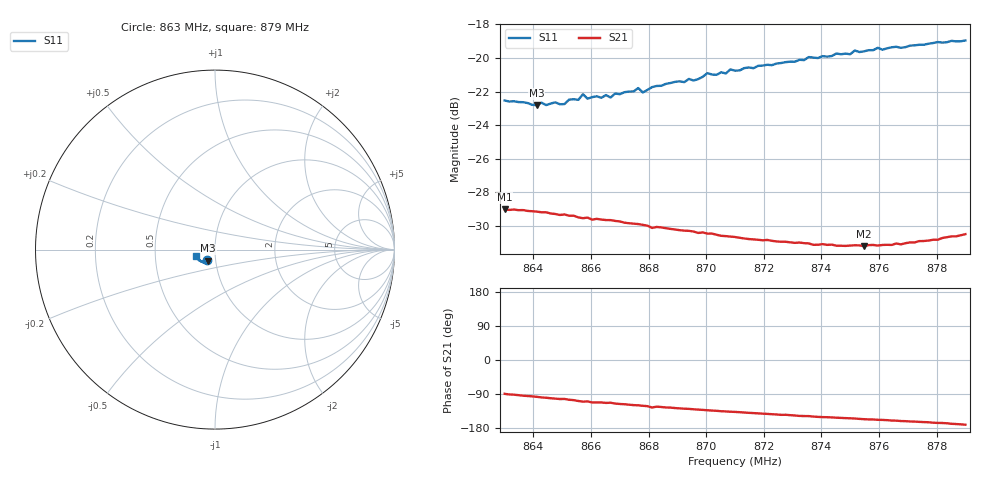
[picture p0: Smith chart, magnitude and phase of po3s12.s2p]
# HZ S RI R 50
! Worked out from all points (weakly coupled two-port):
!   101 points, 863 MHz to 879 MHz, reference 50 ohm
!   highest |S21| = -29.03 dB at 863 MHz (marker M1); lowest = -31.2 dB at 875.48 MHz (marker M2)
!   lowest |S11| = -22.8 dB at 864.12 MHz (marker M3), VSWR 1.16, Z = 45.9 - j5.65 ohm
!   |S11| at or under -10 dB: start of sweep to end of sweep
!   S12 and S22 are empty: the file has one direction only
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8.63e8  -0.0436 -0.0606  0.000489 -0.0354  0 0  0 0
8.6412e8  -0.0387 -0.0611  -0.00437 -0.0346  0 0  0 0
8.6508e8  -0.0383 -0.062  -0.00756 -0.0333  0 0  0 0
8.6524e8  -0.0412 -0.0628  -0.00872 -0.0327  0 0  0 0
8.6556e8  -0.0406 -0.0631  -0.0104 -0.0318  0 0  0 0
8.6572e8  -0.0422 -0.0655  -0.0114 -0.0313  0 0  0 0
8.6588e8  -0.0393 -0.0646  -0.011 -0.0316  0 0  0 0
8.6652e8  -0.0395 -0.0667  -0.013 -0.0302  0 0  0 0
8.6668e8  -0.039 -0.0655  -0.0127 -0.0303  0 0  0 0
8.6684e8  -0.0409 -0.0668  -0.0138 -0.0296  0 0  0 0
8.6764e8  -0.0419 -0.0697  -0.0158 -0.0278  0 0  0 0
8.678e8  -0.0414 -0.0672  -0.0163 -0.0273  0 0  0 0
8.6844e8  -0.044 -0.0699  -0.0175 -0.0259  0 0  0 0
8.694e8  -0.0491 -0.0714  -0.0192 -0.0237  0 0  0 0
8.6956e8  -0.0483 -0.0707  -0.0196 -0.0233  0 0  0 0
8.7004e8  -0.0526 -0.0731  -0.0202 -0.0221  0 0  0 0
8.7036e8  -0.0524 -0.072  -0.0207 -0.0214  0 0  0 0
8.71e8  -0.0564 -0.0723  -0.0214 -0.02  0 0  0 0
8.7372e8  -0.0737 -0.068  -0.0238 -0.0142  0 0  0 0
8.7548e8  -0.0851 -0.0608  -0.0251 -0.0111  0 0  0 0
8.7644e8  -0.0927 -0.0547  -0.026 -0.00958  0 0  0 0
8.79e8  -0.1074 -0.0343  -0.0294 -0.00479  0 0  0 0
